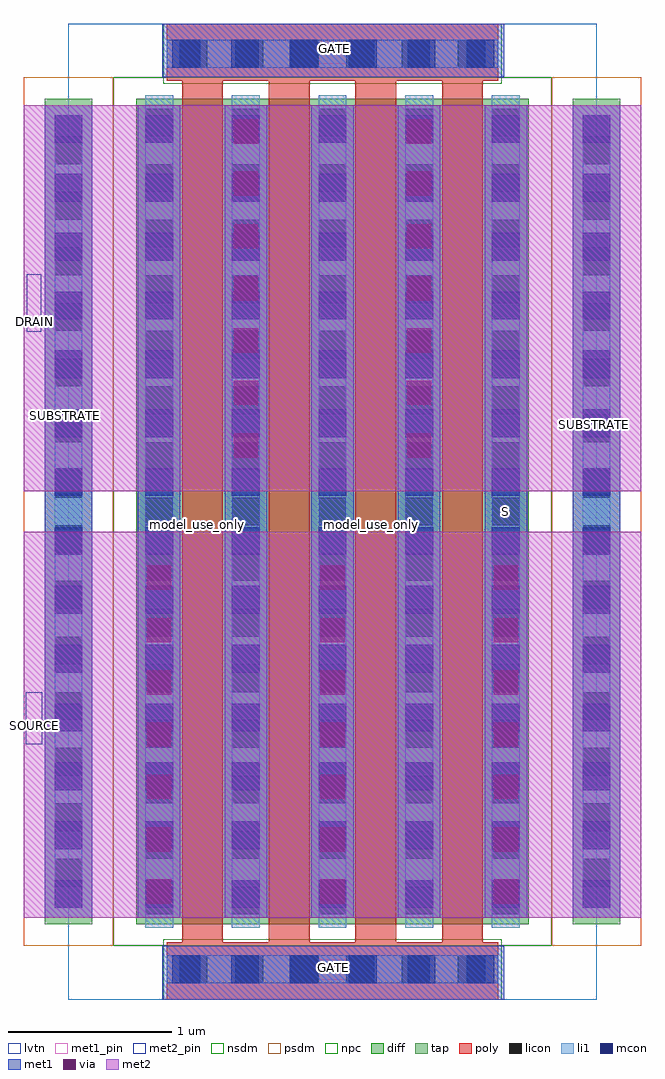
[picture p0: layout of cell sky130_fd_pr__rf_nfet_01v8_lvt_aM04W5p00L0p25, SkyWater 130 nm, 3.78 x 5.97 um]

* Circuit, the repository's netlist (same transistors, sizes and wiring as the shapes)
* Copyright 2020 The SkyWater PDK Authors
*
* Licensed under the Apache License, Version 2.0 (the "License");
* you may not use this file except in compliance with the License.
* You may obtain a copy of the License at
*
*     https://www.apache.org/licenses/LICENSE-2.0
*
* Unless required by applicable law or agreed to in writing, software
* distributed under the License is distributed on an "AS IS" BASIS,
* WITHOUT WARRANTIES OR CONDITIONS OF ANY KIND, either express or implied.
* See the License for the specific language governing permissions and
* limitations under the License.
*
* SPDX-License-Identifier: Apache-2.0


.subckt sky130_fd_pr__rf_nfet_01v8_lvt_aM04W5p00L0p25 DRAIN GATE SOURCE SUBSTRATE
X0 SOURCE GATE DRAIN SUBSTRATE sky130_fd_pr__nfet_01v8_lvt w=5.05e+06u l=250000u
X1 DRAIN GATE SOURCE SUBSTRATE sky130_fd_pr__nfet_01v8_lvt w=5.05e+06u l=250000u
X2 SOURCE GATE DRAIN SUBSTRATE sky130_fd_pr__nfet_01v8_lvt w=5.05e+06u l=250000u
X3 DRAIN GATE SOURCE SUBSTRATE sky130_fd_pr__nfet_01v8_lvt w=5.05e+06u l=250000u
.ends

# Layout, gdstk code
import gdstk
lib = gdstk.Library(unit=1e-6, precision=1e-09)
def R(c, l, rs):  # rectangles x0, y0, x1, y1
    for r in rs: c.add(gdstk.rectangle(r[:2], r[2:], *l))
def A(c, l, x, y, w, h, nx, ny, dx, dy):  # array of equal rectangles
    R(c, l, [(x+i*dx, y+j*dy, x+i*dx+w, y+j*dy+h) for i in range(nx) for j in range(ny)])
diff = (65, 20)
tap = (65, 44)
poly = (66, 20)
licon = (66, 44)
li1 = (67, 20)
mcon = (67, 44)
met1_pin = (68, 16)
met1 = (68, 20)
via = (68, 44)
met2_pin = (69, 16)
met2 = (69, 20)
nsdm = (93, 44)
psdm = (94, 20)
npc = (95, 20)
lvtn = (125, 44)

sky130_fd_pr__rf_nfet_01 = lib.new_cell('sky130_fd_pr__rf_nfet_01v8_lvt_aM04W5p00L0p25')
R(sky130_fd_pr__rf_nfet_01, diff, [(0.69,0.46,3.09,5.51)])
R(sky130_fd_pr__rf_nfet_01, tap, [(0.13,0.46,0.42,5.51), (3.36,0.46,3.65,5.51)])
A(sky130_fd_pr__rf_nfet_01, poly, 0.97, 0.35, 0.25, 5.27, 4, 1, 0.53, 0)
R(sky130_fd_pr__rf_nfet_01, poly, [(0.875,0,2.905,0.35), (0.875,5.62,2.905,5.97)])
A(sky130_fd_pr__rf_nfet_01, licon, 0.955, 0.1, 0.17, 0.17, 6, 2, 0.34, 5.6)
A(sky130_fd_pr__rf_nfet_01, licon, 0.745, 0.52, 0.17, 0.17, 5, 15, 0.53, 0.34)
A(sky130_fd_pr__rf_nfet_01, licon, 0.19, 0.69, 0.17, 0.17, 1, 14, 0, 0.34)
A(sky130_fd_pr__rf_nfet_01, licon, 3.42, 0.69, 0.17, 0.17, 1, 14, 0, 0.34)
A(sky130_fd_pr__rf_nfet_01, li1, 0.745, 0.44, 0.17, 5.09, 5, 1, 0.53, 0)
A(sky130_fd_pr__rf_nfet_01, li1, 0.745, 1.64, 0.17, 2.69, 5, 1, 0.53, 0)
R(sky130_fd_pr__rf_nfet_01, li1, [(0.875,0.1,2.905,0.27), (0.91,0.1,2.88,0.27), (0.19,0.56,0.36,5.41), (3.42,0.56,3.59,5.41), (0.19,0.61,0.36,5.36), (3.42,0.61,3.59,5.36), (0.19,1.63,0.36,4.34), (3.42,1.63,3.59,4.34), (0.875,5.7,2.905,5.87), (0.91,5.7,2.88,5.87)])
A(sky130_fd_pr__rf_nfet_01, mcon, 0.91, 0.1, 0.17, 0.17, 6, 2, 0.36, 5.6)
A(sky130_fd_pr__rf_nfet_01, mcon, 0.19, 0.56, 0.17, 0.17, 1, 14, 0, 0.36)
A(sky130_fd_pr__rf_nfet_01, mcon, 0.745, 0.56, 0.17, 0.17, 5, 14, 0.53, 0.36)
A(sky130_fd_pr__rf_nfet_01, mcon, 3.42, 0.56, 0.17, 0.17, 1, 14, 0, 0.36)
R(sky130_fd_pr__rf_nfet_01, met1_pin, [(1.69,0.12,2.1,0.245), (0.19,2.945,0.36,3.025), (3.42,2.945,3.59,3.025), (1.695,5.725,2.105,5.85)])
A(sky130_fd_pr__rf_nfet_01, met1, 0.7, 0.5, 0.26, 2.24, 3, 1, 1.06, 0)
A(sky130_fd_pr__rf_nfet_01, met1, 0.7, 0.5, 0.26, 4.97, 5, 1, 0.53, 0)
R(sky130_fd_pr__rf_nfet_01, met1, [(0.85,0,2.94,0.33), (0.13,0.5,0.42,5.47), (3.36,0.5,3.65,5.47), (1.23,3.23,1.49,5.47), (2.29,3.23,2.55,5.47), (0.85,5.64,2.94,5.97)])
A(sky130_fd_pr__rf_nfet_01, via, 0.755, 0.585, 0.15, 0.15, 3, 7, 1.06, 0.32)
A(sky130_fd_pr__rf_nfet_01, via, 1.285, 3.315, 0.15, 0.15, 1, 7, 0, 0.32)
A(sky130_fd_pr__rf_nfet_01, via, 2.345, 3.315, 0.15, 0.15, 1, 7, 0, 0.32)
R(sky130_fd_pr__rf_nfet_01, met2_pin, [(0.015,1.56,0.115,1.88), (0.02,4.085,0.11,4.435)])
A(sky130_fd_pr__rf_nfet_01, met2, 0.7, 0.5, 0.26, 2.24, 3, 1, 1.06, 0)
R(sky130_fd_pr__rf_nfet_01, met2, [(0,0.5,3.78,2.86), (0,3.11,3.78,5.47), (1.23,3.23,1.49,5.47), (2.29,3.23,2.55,5.47)])
R(sky130_fd_pr__rf_nfet_01, nsdm, [(0.55,0.33,3.23,5.64)])
R(sky130_fd_pr__rf_nfet_01, psdm, [(0,0.33,0.55,5.64), (3.23,0.33,3.78,5.64)])
R(sky130_fd_pr__rf_nfet_01, npc, [(0.855,0,2.925,0.37), (0.855,5.6,2.925,5.97)])
R(sky130_fd_pr__rf_nfet_01, lvtn, [(0.275,0,3.505,5.97)])
sky130_fd_pr__rf_nfet_01.add(gdstk.Label('model_use_only', (1.065,2.905), layer=66, texttype=83))
sky130_fd_pr__rf_nfet_01.add(gdstk.Label('model_use_only', (1.59,2.905), layer=66, texttype=83))
sky130_fd_pr__rf_nfet_01.add(gdstk.Label('model_use_only', (2.13,2.905), layer=66, texttype=83))
sky130_fd_pr__rf_nfet_01.add(gdstk.Label('model_use_only', (2.65,2.905), layer=66, texttype=83))
sky130_fd_pr__rf_nfet_01.add(gdstk.Label('S', (0.83,2.985), layer=83, texttype=44))
sky130_fd_pr__rf_nfet_01.add(gdstk.Label('S', (0.83,2.985), layer=83, texttype=44))
sky130_fd_pr__rf_nfet_01.add(gdstk.Label('S', (1.36,2.985), layer=83, texttype=44))
sky130_fd_pr__rf_nfet_01.add(gdstk.Label('D', (1.36,2.985), layer=83, texttype=44))
sky130_fd_pr__rf_nfet_01.add(gdstk.Label('S', (1.89,2.985), layer=83, texttype=44))
sky130_fd_pr__rf_nfet_01.add(gdstk.Label('S', (1.89,2.985), layer=83, texttype=44))
sky130_fd_pr__rf_nfet_01.add(gdstk.Label('S', (2.42,2.985), layer=83, texttype=44))
sky130_fd_pr__rf_nfet_01.add(gdstk.Label('D', (2.42,2.985), layer=83, texttype=44))
sky130_fd_pr__rf_nfet_01.add(gdstk.Label('S', (2.95,2.985), layer=83, texttype=44))
sky130_fd_pr__rf_nfet_01.add(gdstk.Label('DRAIN', (0.065,4.15), layer=69, texttype=5))
sky130_fd_pr__rf_nfet_01.add(gdstk.Label('SOURCE', (0.07,1.675), layer=69, texttype=5))
sky130_fd_pr__rf_nfet_01.add(gdstk.Label('GATE', (1.895,0.195), layer=68, texttype=5))
sky130_fd_pr__rf_nfet_01.add(gdstk.Label('SUBSTRATE', (0.255,3.57), layer=68, texttype=5))
sky130_fd_pr__rf_nfet_01.add(gdstk.Label('SUBSTRATE', (3.495,3.52), layer=68, texttype=5))
sky130_fd_pr__rf_nfet_01.add(gdstk.Label('GATE', (1.9,5.815), layer=68, texttype=5))

lib.write_gds('sky130_fd_pr__rf_nfet_01v8_lvt_aM04W5p00L0p25.gds')
